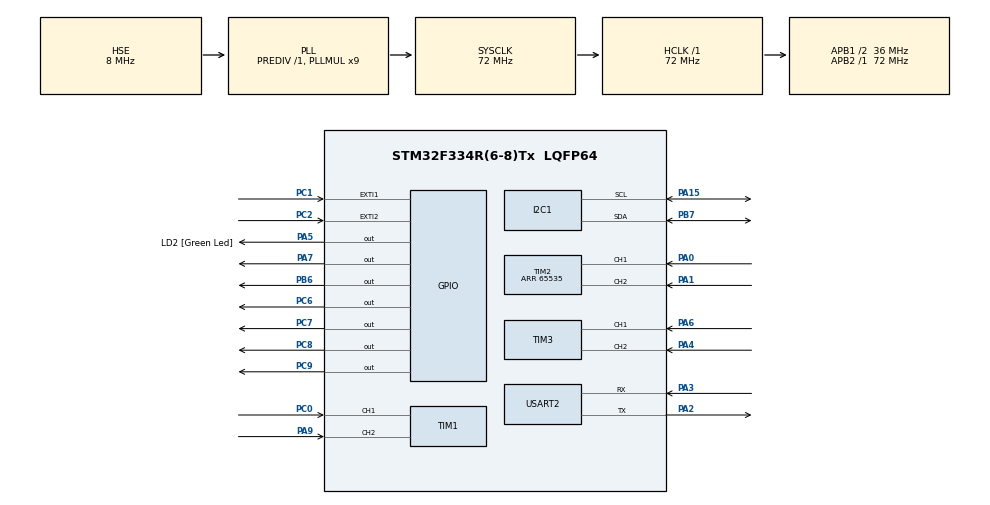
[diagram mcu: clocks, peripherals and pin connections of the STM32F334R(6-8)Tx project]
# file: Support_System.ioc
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Mcu.Family=STM32F3
NVIC.EXTI2_TSC_IRQn=true\:0\:0\:false\:false\:true\:true\:true
RCC.CortexFreq_Value=72000000
PF0\ /\ OSC_IN.Mode=HSE-External-Oscillator
PA14.GPIO_Label=TCK
RCC.SYSCLKSourceVirtual=RCC_SYSCLKSOURCE_PLLCLK
TIM3.EncoderMode=TIM_ENCODERMODE_TI12
TIM1.EncoderMode=TIM_ENCODERMODE_TI12
TIM2.EncoderMode=TIM_ENCODERMODE_TI12
ProjectManager.StackSize=0x400
NVIC.EXTI1_IRQn=true\:0\:0\:false\:false\:true\:true\:true
RCC.HCLKFreq_Value=72000000
RCC.APB2TimFreq_Value=72000000
PB6.Signal=GPIO_Output
PC7.Signal=GPIO_Output
RCC.AHBFreq_Value=72000000
RCC.HSE_VALUE=8000000
USART2.VirtualMode-Asynchronous=VM_ASYNC
PC1.GPIO_PuPd=GPIO_PULLUP
PA15.Mode=I2C
RCC.PLLMUL=RCC_PLL_MUL9
PC14\ /\ OSC32_IN.Mode=LSE-External-Oscillator
TIM1.IC2Polarity=TIM_ICPOLARITY_RISING
PC14\ /\ OSC32_IN.Signal=RCC_OSC32_IN
PA14.Mode=Serial_Wire
PC15\ /\ OSC32_OUT.Signal=RCC_OSC32_OUT
PB7.Signal=I2C1_SDA
SH.S_TIM3_CH1.0=TIM3_CH1,Encoder_Interface
PA0.Signal=S_TIM2_CH1_ETR
RCC.FLatency-AdvancedSettings=FLASH_LATENCY_2
Mcu.Package=LQFP64
PA6.Signal=S_TIM3_CH1
TIM2.IC1Polarity=TIM_ICPOLARITY_RISING
PC15\ /\ OSC32_OUT.Mode=LSE-External-Oscillator
PA15.Signal=I2C1_SCL
PC6.GPIO_PuPd=GPIO_PULLDOWN
RCC.APB1TimFreq_Value=72000000
PA3.Signal=USART2_RX
PB3.GPIO_Label=SWO
RCC.PLLSourceVirtual=RCC_PLLSOURCE_HSE
TIM3.AutoReloadPreload=TIM_AUTORELOAD_PRELOAD_ENABLE
TIM2.IC1Filter=10 
PB6.GPIO_PuPd=GPIO_PULLDOWN
PC8.Signal=GPIO_Output
PC2.Signal=GPXTI2
PC6.Signal=GPIO_Output
PC0.Signal=S_TIM1_CH1
RCC.APB1CLKDivider=RCC_HCLK_DIV2
PA13.Signal=SYS_JTMS-SWDIO
PA3.Mode=Asynchronous
TIM1.AutoReloadPreload=TIM_AUTORELOAD_PRELOAD_ENABLE
SH.S_TIM2_CH2.0=TIM2_CH2,Encoder_Interface
SH.S_TIM1_CH1.0=TIM1_CH1,Encoder_Interface
ProjectManager.TargetToolchain=STM32CubeIDE
TIM3.IC2Filter=10
PA9.Signal=S_TIM1_CH2
PC7.GPIO_PuPd=GPIO_PULLDOWN
PA7.GPIO_PuPd=GPIO_PULLDOWN
PA1.Signal=S_TIM2_CH2
PF1\ /\ OSC_OUT.Signal=RCC_OSC_OUT
PA5.Signal=GPIO_Output
SH.S_TIM3_CH2.0=TIM3_CH2,Encoder_Interface
TIM3.IC1Filter=10
board=NUCLEO-F334R8
TIM2.IC2Polarity=TIM_ICPOLARITY_RISING
RCC.APB2Freq_Value=72000000
PF0\ /\ OSC_IN.Signal=RCC_OSC_IN
SH.S_TIM1_CH2.0=TIM1_CH2,Encoder_Interface
TIM1.IC2Filter=10
PC9.GPIO_PuPd=GPIO_PULLDOWN
PC2.GPIO_PuPd=GPIO_PULLUP
TIM2.Period=65535
PC15\ /\ OSC32_OUT.GPIO_Label=RCC_OSC32_OUT
PA13.Mode=Serial_Wire
Mcu.Name=STM32F334R(6-8)Tx
PA2.Signal=USART2_TX
PA13.GPIO_Label=TMS
PC8.GPIO_PuPd=GPIO_PULLDOWN
PB3.Signal=SYS_JTDO-TRACESWO
PA4.Signal=S_TIM3_CH2
RCC.SYSCLKFreq_VALUE=72000000
PA5.GPIO_Label=LD2 [Green Led]
TIM1.IC1Filter=10
TIM1.IC1Polarity=TIM_ICPOLARITY_RISING
PB7.Mode=I2C
SH.S_TIM2_CH1_ETR.0=TIM2_CH1,Encoder_Interface
PA14.Signal=SYS_JTCK-SWCLK
ProjectManager.HeapSize=0x200
RCC.HSI_VALUE=8000000
NVIC.PriorityGroup=NVIC_PRIORITYGROUP_4
PA2.Mode=Asynchronous
TIM2.AutoReloadPreload=TIM_AUTORELOAD_PRELOAD_ENABLE
PC9.Signal=GPIO_Output
RCC.APB1Freq_Value=36000000
PC1.Signal=GPXTI1
PF1\ /\ OSC_OUT.Mode=HSE-External-Oscillator
TIM2.IC2Filter=0
PA7.Signal=GPIO_Output

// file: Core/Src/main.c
/* USER CODE BEGIN Header */
/**
  ******************************************************************************
  * @file           : main.c
  * @brief          : Main program body
  ******************************************************************************
  * @attention
  *
  * <h2><center>&copy; Copyright (c) 2021 STMicroelectronics.
  * All rights reserved.</center></h2>
  *
  * This software component is licensed by ST under BSD 3-Clause license,
  * the "License"; You may not use this file except in compliance with the
  * License. You may obtain a copy of the License at:
  *                        opensource.org/licenses/BSD-3-Clause
  *
  ******************************************************************************
  */
/* USER CODE END Header */
#include "main.h"

/* USER CODE BEGIN Includes */
#include "stdio.h"
#include "math.h"
#include "Motor_Control.h"
#include "PCA9685_driver.h"
#include "stdbool.h"
/* USER CODE END Includes */

/* USER CODE BEGIN PD */
	volatile typedef enum{
		ON_MODE, OFF_MODE, idle
	}State;
	volatile State Mode;

	#define Setpoint 0
	#define Min_Len -325
	#define Max_Len 325

/* USER CODE END PD */

I2C_HandleTypeDef hi2c1;

TIM_HandleTypeDef htim1;
TIM_HandleTypeDef htim2;
TIM_HandleTypeDef htim3;

UART_HandleTypeDef huart2;

/* USER CODE BEGIN PV */
	extern volatile uint8_t ON_BUTTON;
	extern volatile uint8_t OFF_BUTTON;
	volatile uint8_t Forward = 1;
	volatile uint8_t Backward= 0;

/* USER CODE END PV */

void SystemClock_Config(void);
static void MX_GPIO_Init(void);
static void MX_TIM1_Init(void);
static void MX_TIM2_Init(void);
static void MX_TIM3_Init(void);
static void MX_I2C1_Init(void);
static void MX_USART2_UART_Init(void);

int main(void)
{
  /* USER CODE BEGIN 1 */
       	Mode = idle;
  /* USER CODE END 1 */

  /* MCU Configuration--------------------------------------------------------*/

  /* Reset of all peripherals, Initializes the Flash interface and the Systick. */
  HAL_Init();

  /* Configure the system clock */
  SystemClock_Config();

  /* Initialize all configured peripherals */
  MX_GPIO_Init();
  MX_TIM1_Init();
  MX_TIM2_Init();
  MX_TIM3_Init();
  MX_I2C1_Init();
  MX_USART2_UART_Init();
  /* USER CODE BEGIN 2 */
	uint8_t student[] = {'C','O','N','N','E','C','T','E','D'};
	uint8_t ON[] = {'O','N','_','M','O','D','E'};
	uint8_t OFF[] = {'O','F','F','_','M','O','D','E'};
	//uint8_t forward[] = {'F','O','R','W','A','R','D'};
	//uint8_t backward[] = {'B','A','C','K','W','A','R','D'};
	HAL_UART_Transmit(&huart2, student, 9, 100);

	volatile uint8_t Kp = 1;
	volatile uint8_t Ki = 1;
	volatile uint8_t Kd = 1;
	float Error1;
	float Error2;
	float Error_Integral1 = 0;
	float Previous_Error1 = 0;
	float Error_Integral2 =0;
	float Previous_Error2 = 0;
	float Error_Derivative1 = 0;
	float Error_Derivative2 = 0;
	float current_pos_top;
	float current_pos_left;
	float current_pos_right;
	float PID_Output1;
	float PID_Output2;

	pca9685_init(&hi2c1,PCA9685_I2C_DEFAULT_DEVICE_ADDRESS, 1000.0f);

  /* USER CODE END 2 */

  /* Infinite loop */
  /* USER CODE BEGIN WHILE */
  while (1)
  {
	  if(ON_BUTTON == 1)
	  {
		  if(HAL_GPIO_ReadPin(GPIOC, GPIO_PIN_1) == 1)
		  {
			  Mode = ON_MODE;
			  HAL_GPIO_WritePin(GPIOA, GPIO_PIN_7, 1);
			  ON_BUTTON = 0;
   			  HAL_UART_Transmit(&huart2, ON, 7, 100);

   			  // Start Encoder Timer
   			  HAL_TIM_Encoder_Start(&htim1,TIM_CHANNEL_ALL);
   			  HAL_TIM_Encoder_Start(&htim2,TIM_CHANNEL_ALL);
   			  HAL_TIM_Encoder_Start(&htim3,TIM_CHANNEL_ALL);
		  }
	  }

	  if(OFF_BUTTON == 1)
	  {
		  if(HAL_GPIO_ReadPin(GPIOC, GPIO_PIN_2) == 1)
		  {
			  Mode = OFF_MODE;
			  OFF_BUTTON = 0;
			  HAL_UART_Transmit(&huart2, OFF, 8, 100);
		  }
	  }

	  switch(Mode){

	  case idle:
	  {
	  	break;
	  }

	  case ON_MODE:
	  {
	  	// Read Encoder Values
	  	//char left_enc_buffer[8];
	  	current_pos_top = Read_Encoder_Top();
	  	current_pos_left = Read_Encoder_Left();
	  	current_pos_right = Read_Encoder_Right();

//	  	sprintf(left_enc_buffer, "\n%.5f", current_pos_top);
//	  	HAL_UART_Transmit(&huart2, left_enc_buffer, sizeof(left_enc_buffer), 100);

	  	//////////////////////////////////////////////////////////////////////////////////////////////////////////////////
	  	///////////////////////////////////////////////// CONTROL LOOP ///////////////////////////////////////////////////

	  	// Proportional Error (Relative Position)
	  	Error1 = current_pos_top - current_pos_left;
	  	//Error2 = Error1;
	  	Error2 = current_pos_top - current_pos_right;

	  	// To void integral wind-up, restrict integral error to reasonable values
		//Integral Error
	  	Error_Integral1 = Error_Integral1 + Error1;
	  	//Error_Integral2 = Error_Integral1;
	  	Error_Integral2 = Error_Integral2 + Error2;

	  	if (Error_Integral1 > 50)
	  	{
	  		Error_Integral1 = 50;  // Recommended in Tutorial
	  	}
	  	else if (Error_Integral1 < 50)
	  	{
	  		Error_Integral1 = -50;
	  	}

	  	if(Error_Integral2 > 50)
	  	{
	  		Error_Integral2 = 50;
	  	}
	  	else if (Error_Integral2 < 50)
		{
			Error_Integral2 = -50;
		}

	  	// Derivative Error
	  	Error_Derivative1 = Error1 - Previous_Error1;
	  	Previous_Error1 = Error1;

	  	Error_Derivative2 = Error2 - Previous_Error2;
	  	Previous_Error2 = Error2;

	  	// PID OUTPUT
	  	PID_Output1 = (Kp*Error1)+(Ki*Error_Integral1)+(Kd*Error_Derivative1); // Map to PWM Signal
	  	PID_Output2 = (Kp*Error2)+(Ki*Error_Integral2)+(Kd*Error_Derivative2); // Map to PWM Signal

	  	///// CHECK THIS IN MORNING
	  	float dummy = (PID_Output1/350);
	  	if (dummy <= 0)
	  	{
	  		dummy = dummy*(-1);
	  	}
	  	if (dummy >= 1.0)
	  	{
	  		dummy = 1.0;
	  	}

	  	// Print PID values
	  	char PID_buffer[8];
	  	sprintf(PID_buffer, "\n%.5f", dummy);
	  	HAL_UART_Transmit(&huart2, PID_buffer, sizeof(PID_buffer), 100);

	  	if(current_pos_top < Setpoint)
	  	{
	  		Set_Motor_Parameters(Forward);
	  		//HAL_UART_Transmit(&huart2, backward, 8, 100);
	  		pca9685_set_pwm(&hi2c1, PCA9685_I2C_DEFAULT_DEVICE_ADDRESS, 0, dummy);
	  	}

	  	if(current_pos_top > Setpoint)
	  	{
	  		Set_Motor_Parameters(Backward);
	  		//HAL_UART_Transmit(&huart2, forward, 7, 100);
	  		pca9685_set_pwm(&hi2c1, PCA9685_I2C_DEFAULT_DEVICE_ADDRESS, 0, dummy);
	  	}

	  	if(current_pos_top >= Max_Len)
	  	{
	  		Mode = OFF_MODE;
	  	}

	  	if(current_pos_top <= Min_Len)
	  	{
	  		Mode = OFF_MODE;
	  	}

	  	break;
	  }

	  case OFF_MODE:
	  {
		  Kill_Motors();
		  pca9685_set_pwm(&hi2c1, PCA9685_I2C_DEFAULT_DEVICE_ADDRESS, 0, 0.0f);

		  // Set LEDS
		  HAL_GPIO_WritePin(GPIOA, GPIO_PIN_7, 0);
		  HAL_GPIO_WritePin(GPIOB, GPIO_PIN_6, 1);

		  // Switch Encoder Timers Off
		  HAL_TIM_Encoder_Stop(&htim1,TIM_CHANNEL_ALL);
		  HAL_TIM_Encoder_Stop(&htim2,TIM_CHANNEL_ALL);
		  HAL_TIM_Encoder_Stop(&htim3,TIM_CHANNEL_ALL);

		  HAL_UART_Transmit(&huart2, OFF, 8, 100);

		  while(1)
		  {
			  // Do Nothing
		  }
		  break;
	  }

	  }

    /* USER CODE END WHILE */

  }
}

void SystemClock_Config(void)
{
  RCC_OscInitTypeDef RCC_OscInitStruct = {0};
  RCC_ClkInitTypeDef RCC_ClkInitStruct = {0};
  RCC_PeriphCLKInitTypeDef PeriphClkInit = {0};

  /** Initializes the RCC Oscillators according to the specified parameters
  * in the RCC_OscInitTypeDef structure.
  */
  RCC_OscInitStruct.OscillatorType = RCC_OSCILLATORTYPE_HSI|RCC_OSCILLATORTYPE_HSE;
  RCC_OscInitStruct.HSEState = RCC_HSE_ON;
  RCC_OscInitStruct.HSEPredivValue = RCC_HSE_PREDIV_DIV1;
  RCC_OscInitStruct.HSIState = RCC_HSI_ON;
  RCC_OscInitStruct.HSICalibrationValue = RCC_HSICALIBRATION_DEFAULT;
  RCC_OscInitStruct.PLL.PLLState = RCC_PLL_ON;
  RCC_OscInitStruct.PLL.PLLSource = RCC_PLLSOURCE_HSE;
  RCC_OscInitStruct.PLL.PLLMUL = RCC_PLL_MUL9;
  if (HAL_RCC_OscConfig(&RCC_OscInitStruct) != HAL_OK)
  {
    Error_Handler();
  }
  /** Initializes the CPU, AHB and APB buses clocks
  */
  RCC_ClkInitStruct.ClockType = RCC_CLOCKTYPE_HCLK|RCC_CLOCKTYPE_SYSCLK
                              |RCC_CLOCKTYPE_PCLK1|RCC_CLOCKTYPE_PCLK2;
  RCC_ClkInitStruct.SYSCLKSource = RCC_SYSCLKSOURCE_PLLCLK;
  RCC_ClkInitStruct.AHBCLKDivider = RCC_SYSCLK_DIV1;
  RCC_ClkInitStruct.APB1CLKDivider = RCC_HCLK_DIV2;
  RCC_ClkInitStruct.APB2CLKDivider = RCC_HCLK_DIV1;

  if (HAL_RCC_ClockConfig(&RCC_ClkInitStruct, FLASH_LATENCY_2) != HAL_OK)
  {
    Error_Handler();
  }
  PeriphClkInit.PeriphClockSelection = RCC_PERIPHCLK_I2C1|RCC_PERIPHCLK_TIM1;
  PeriphClkInit.I2c1ClockSelection = RCC_I2C1CLKSOURCE_HSI;
  PeriphClkInit.Tim1ClockSelection = RCC_TIM1CLK_HCLK;
  if (HAL_RCCEx_PeriphCLKConfig(&PeriphClkInit) != HAL_OK)
  {
    Error_Handler();
  }
}

static void MX_I2C1_Init(void)
{

  hi2c1.Instance = I2C1;
  hi2c1.Init.Timing = 0x2000090E;
  hi2c1.Init.OwnAddress1 = 0;
  hi2c1.Init.AddressingMode = I2C_ADDRESSINGMODE_7BIT;
  hi2c1.Init.DualAddressMode = I2C_DUALADDRESS_DISABLE;
  hi2c1.Init.OwnAddress2 = 0;
  hi2c1.Init.OwnAddress2Masks = I2C_OA2_NOMASK;
  hi2c1.Init.GeneralCallMode = I2C_GENERALCALL_DISABLE;
  hi2c1.Init.NoStretchMode = I2C_NOSTRETCH_DISABLE;
  if (HAL_I2C_Init(&hi2c1) != HAL_OK)
  {
    Error_Handler();
  }
  /** Configure Analogue filter
  */
  if (HAL_I2CEx_ConfigAnalogFilter(&hi2c1, I2C_ANALOGFILTER_ENABLE) != HAL_OK)
  {
    Error_Handler();
  }
  /** Configure Digital filter
  */
  if (HAL_I2CEx_ConfigDigitalFilter(&hi2c1, 0) != HAL_OK)
  {
    Error_Handler();
  }

}

static void MX_TIM1_Init(void)
{

  TIM_Encoder_InitTypeDef sConfig = {0};
  TIM_MasterConfigTypeDef sMasterConfig = {0};

  htim1.Instance = TIM1;
  htim1.Init.Prescaler = 0;
  htim1.Init.CounterMode = TIM_COUNTERMODE_UP;
  htim1.Init.Period = 65535;
  htim1.Init.ClockDivision = TIM_CLOCKDIVISION_DIV1;
  htim1.Init.RepetitionCounter = 0;
  htim1.Init.AutoReloadPreload = TIM_AUTORELOAD_PRELOAD_ENABLE;
  sConfig.EncoderMode = TIM_ENCODERMODE_TI12;
  sConfig.IC1Polarity = TIM_ICPOLARITY_RISING;
  sConfig.IC1Selection = TIM_ICSELECTION_DIRECTTI;
  sConfig.IC1Prescaler = TIM_ICPSC_DIV1;
  sConfig.IC1Filter = 10;
  sConfig.IC2Polarity = TIM_ICPOLARITY_RISING;
  sConfig.IC2Selection = TIM_ICSELECTION_DIRECTTI;
  sConfig.IC2Prescaler = TIM_ICPSC_DIV1;
  sConfig.IC2Filter = 10;
  if (HAL_TIM_Encoder_Init(&htim1, &sConfig) != HAL_OK)
  {
    Error_Handler();
  }
  sMasterConfig.MasterOutputTrigger = TIM_TRGO_RESET;
  sMasterConfig.MasterOutputTrigger2 = TIM_TRGO2_RESET;
  sMasterConfig.MasterSlaveMode = TIM_MASTERSLAVEMODE_DISABLE;
  if (HAL_TIMEx_MasterConfigSynchronization(&htim1, &sMasterConfig) != HAL_OK)
  {
    Error_Handler();
  }

}

static void MX_TIM2_Init(void)
{

  TIM_Encoder_InitTypeDef sConfig = {0};
  TIM_MasterConfigTypeDef sMasterConfig = {0};

  htim2.Instance = TIM2;
  htim2.Init.Prescaler = 0;
  htim2.Init.CounterMode = TIM_COUNTERMODE_UP;
  htim2.Init.Period = 65535;
  htim2.Init.ClockDivision = TIM_CLOCKDIVISION_DIV1;
  htim2.Init.AutoReloadPreload = TIM_AUTORELOAD_PRELOAD_ENABLE;
  sConfig.EncoderMode = TIM_ENCODERMODE_TI12;
  sConfig.IC1Polarity = TIM_ICPOLARITY_RISING;
  sConfig.IC1Selection = TIM_ICSELECTION_DIRECTTI;
  sConfig.IC1Prescaler = TIM_ICPSC_DIV1;
  sConfig.IC1Filter = 10 ;
  sConfig.IC2Polarity = TIM_ICPOLARITY_RISING;
  sConfig.IC2Selection = TIM_ICSELECTION_DIRECTTI;
  sConfig.IC2Prescaler = TIM_ICPSC_DIV1;
  sConfig.IC2Filter = 0;
  if (HAL_TIM_Encoder_Init(&htim2, &sConfig) != HAL_OK)
  {
    Error_Handler();
  }
  sMasterConfig.MasterOutputTrigger = TIM_TRGO_RESET;
  sMasterConfig.MasterSlaveMode = TIM_MASTERSLAVEMODE_DISABLE;
  if (HAL_TIMEx_MasterConfigSynchronization(&htim2, &sMasterConfig) != HAL_OK)
  {
    Error_Handler();
  }

}

static void MX_TIM3_Init(void)
{

  TIM_Encoder_InitTypeDef sConfig = {0};
  TIM_MasterConfigTypeDef sMasterConfig = {0};

  htim3.Instance = TIM3;
  htim3.Init.Prescaler = 0;
  htim3.Init.CounterMode = TIM_COUNTERMODE_UP;
  htim3.Init.Period = 65535;
  htim3.Init.ClockDivision = TIM_CLOCKDIVISION_DIV1;
  htim3.Init.AutoReloadPreload = TIM_AUTORELOAD_PRELOAD_ENABLE;
  sConfig.EncoderMode = TIM_ENCODERMODE_TI12;
  sConfig.IC1Polarity = TIM_ICPOLARITY_RISING;
  sConfig.IC1Selection = TIM_ICSELECTION_DIRECTTI;
  sConfig.IC1Prescaler = TIM_ICPSC_DIV1;
  sConfig.IC1Filter = 10;
  sConfig.IC2Polarity = TIM_ICPOLARITY_RISING;
  sConfig.IC2Selection = TIM_ICSELECTION_DIRECTTI;
  sConfig.IC2Prescaler = TIM_ICPSC_DIV1;
  sConfig.IC2Filter = 10;
  if (HAL_TIM_Encoder_Init(&htim3, &sConfig) != HAL_OK)
  {
    Error_Handler();
  }
  sMasterConfig.MasterOutputTrigger = TIM_TRGO_RESET;
  sMasterConfig.MasterSlaveMode = TIM_MASTERSLAVEMODE_DISABLE;
  if (HAL_TIMEx_MasterConfigSynchronization(&htim3, &sMasterConfig) != HAL_OK)
  {
    Error_Handler();
  }

}

static void MX_USART2_UART_Init(void)
{

  huart2.Instance = USART2;
  huart2.Init.BaudRate = 38400;
  huart2.Init.WordLength = UART_WORDLENGTH_8B;
  huart2.Init.StopBits = UART_STOPBITS_1;
  huart2.Init.Parity = UART_PARITY_NONE;
  huart2.Init.Mode = UART_MODE_TX_RX;
  huart2.Init.HwFlowCtl = UART_HWCONTROL_NONE;
  huart2.Init.OverSampling = UART_OVERSAMPLING_16;
  huart2.Init.OneBitSampling = UART_ONE_BIT_SAMPLE_DISABLE;
  huart2.AdvancedInit.AdvFeatureInit = UART_ADVFEATURE_NO_INIT;
  if (HAL_UART_Init(&huart2) != HAL_OK)
  {
    Error_Handler();
  }

}

static void MX_GPIO_Init(void)
{
  GPIO_InitTypeDef GPIO_InitStruct = {0};

  /* GPIO Ports Clock Enable */
  __HAL_RCC_GPIOC_CLK_ENABLE();
  __HAL_RCC_GPIOF_CLK_ENABLE();
  __HAL_RCC_GPIOA_CLK_ENABLE();
  __HAL_RCC_GPIOB_CLK_ENABLE();

  /*Configure GPIO pin Output Level */
  HAL_GPIO_WritePin(GPIOA, LD2_Pin|GPIO_PIN_7, GPIO_PIN_RESET);

  /*Configure GPIO pin Output Level */
  HAL_GPIO_WritePin(GPIOC, GPIO_PIN_6|GPIO_PIN_7|GPIO_PIN_8|GPIO_PIN_9, GPIO_PIN_RESET);

  /*Configure GPIO pin Output Level */
  HAL_GPIO_WritePin(GPIOB, GPIO_PIN_6, GPIO_PIN_RESET);

  /*Configure GPIO pins : PC1 PC2 */
  GPIO_InitStruct.Pin = GPIO_PIN_1|GPIO_PIN_2;
  GPIO_InitStruct.Mode = GPIO_MODE_IT_RISING;
  GPIO_InitStruct.Pull = GPIO_PULLUP;
  HAL_GPIO_Init(GPIOC, &GPIO_InitStruct);

  /*Configure GPIO pin : LD2_Pin */
  GPIO_InitStruct.Pin = LD2_Pin;
  GPIO_InitStruct.Mode = GPIO_MODE_OUTPUT_PP;
  GPIO_InitStruct.Pull = GPIO_NOPULL;
  GPIO_InitStruct.Speed = GPIO_SPEED_FREQ_LOW;
  HAL_GPIO_Init(LD2_GPIO_Port, &GPIO_InitStruct);

  /*Configure GPIO pin : PA7 */
  GPIO_InitStruct.Pin = GPIO_PIN_7;
  GPIO_InitStruct.Mode = GPIO_MODE_OUTPUT_PP;
  GPIO_InitStruct.Pull = GPIO_PULLDOWN;
  GPIO_InitStruct.Speed = GPIO_SPEED_FREQ_LOW;
  HAL_GPIO_Init(GPIOA, &GPIO_InitStruct);

  /*Configure GPIO pins : PC6 PC7 PC8 PC9 */
  GPIO_InitStruct.Pin = GPIO_PIN_6|GPIO_PIN_7|GPIO_PIN_8|GPIO_PIN_9;
  GPIO_InitStruct.Mode = GPIO_MODE_OUTPUT_PP;
  GPIO_InitStruct.Pull = GPIO_PULLDOWN;
  GPIO_InitStruct.Speed = GPIO_SPEED_FREQ_LOW;
  HAL_GPIO_Init(GPIOC, &GPIO_InitStruct);

  /*Configure GPIO pin : PB6 */
  GPIO_InitStruct.Pin = GPIO_PIN_6;
  GPIO_InitStruct.Mode = GPIO_MODE_OUTPUT_PP;
  GPIO_InitStruct.Pull = GPIO_PULLDOWN;
  GPIO_InitStruct.Speed = GPIO_SPEED_FREQ_LOW;
  HAL_GPIO_Init(GPIOB, &GPIO_InitStruct);

  /* EXTI interrupt init*/
  HAL_NVIC_SetPriority(EXTI1_IRQn, 0, 0);
  HAL_NVIC_EnableIRQ(EXTI1_IRQn);

  HAL_NVIC_SetPriority(EXTI2_TSC_IRQn, 0, 0);
  HAL_NVIC_EnableIRQ(EXTI2_TSC_IRQn);

}

void Error_Handler(void)
{
  __disable_irq();
  while (1)
  {
  }
}

/************************ (C) COPYRIGHT STMicroelectronics *****END OF FILE****/
